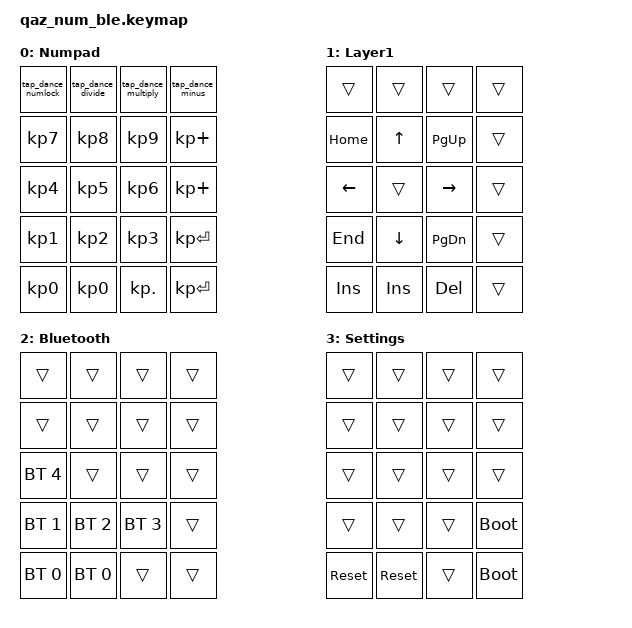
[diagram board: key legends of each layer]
#include <behaviors.dtsi>
#include <dt-bindings/zmk/bt.h>
#include <dt-bindings/zmk/keys.h>

/ {
    behaviors {
        tap_dance_numlock: tap_dance_numlock {
            compatible = "zmk,behavior-tap-dance";
            label = "TAP_DANCE_NUMLOCK";
            #binding-cells = <0>;
            bindings = <&kp KP_NUMLOCK>, <&to 0>;
        };

        tap_dance_divide: tap_dance_divide {
            compatible = "zmk,behavior-tap-dance";
            label = "TAP_DANCE_DIVIDE";
            #binding-cells = <0>;
            bindings = <&kp KP_DIVIDE>, <&to 1>;
        };

        tap_dance_multiply: tap_dance_multiply {
            compatible = "zmk,behavior-tap-dance";
            label = "TAP_DANCE_MULTIPLY";
            #binding-cells = <0>;
            bindings = <&kp KP_ASTERISK>, <&to 2>;
        };

        tap_dance_minus: tap_dance_minus {
            compatible = "zmk,behavior-tap-dance";
            label = "TAP_DANCE_MINUS";
            #binding-cells = <0>;
            bindings = <&kp KP_MINUS>, <&to 3>;
        };
    };

    keymap {
        compatible = "zmk,keymap";

        default_layer {
            display-name = "Numpad";
            bindings = <
&tap_dance_numlock  &tap_dance_divide  &tap_dance_multiply  &tap_dance_minus
&kp KP_N7           &kp KP_N8          &kp KP_N9            &kp KP_PLUS
&kp KP_N4           &kp KP_N5          &kp KP_N6            &kp KP_PLUS
&kp KP_N1           &kp KP_N2          &kp KP_N3            &kp KP_ENTER
&kp KP_N0           &kp KP_NUMBER_0    &kp KP_DOT           &kp KP_ENTER
            >;
        };

        layer_1 {
            display-name = "Layer1";
            bindings = <
&trans          &trans        &trans         &trans
&kp HOME        &kp UP_ARROW  &kp PAGE_UP    &trans
&kp LEFT_ARROW  &trans        &kp RIGHT      &trans
&kp END         &kp DOWN      &kp PAGE_DOWN  &trans
&kp INS         &kp INS       &kp DEL        &trans
            >;
        };

        layer_4 {
            display-name = "Bluetooth";
            bindings = <
&trans        &trans        &trans        &trans
&trans        &trans        &trans        &trans
&bt BT_SEL 4  &trans        &trans        &trans
&bt BT_SEL 1  &bt BT_SEL 2  &bt BT_SEL 3  &trans
&bt BT_SEL 0  &bt BT_SEL 0  &trans        &trans
            >;
        };

        layer_5 {
            bindings = <
&trans      &trans      &trans  &trans
&trans      &trans      &trans  &trans
&trans      &trans      &trans  &trans
&trans      &trans      &trans  &bootloader
&sys_reset  &sys_reset  &trans  &bootloader
            >;

            label = "Settings";
        };
    };
};
